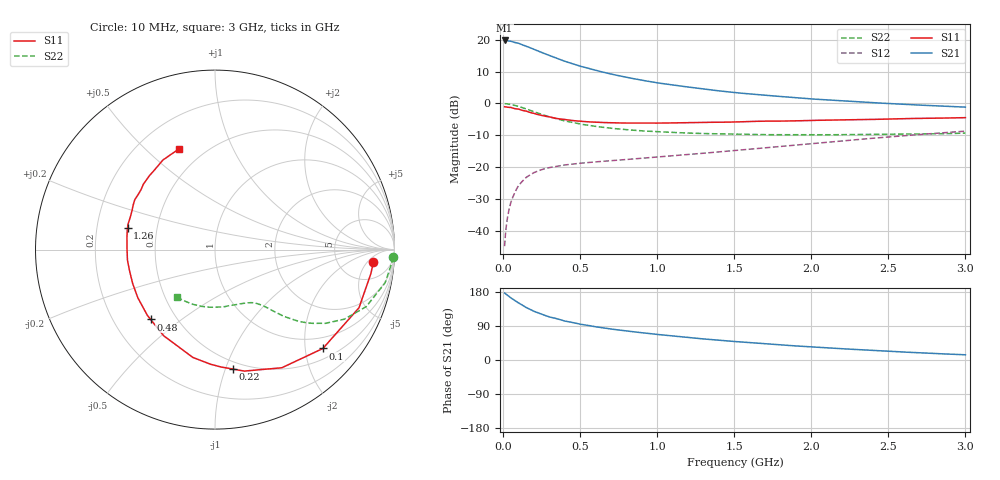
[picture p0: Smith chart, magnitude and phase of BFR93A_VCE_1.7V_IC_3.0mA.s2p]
! Infineon Technologies  Discrete & RF Semiconductors
! BFR93A
! VCE =  1.7 V,  IC =  3.0 mA
! Common Emitter S-Parameters:  Nov 2015
# GHz  S  MA  R  50
!  f  S11  S21  S12  S22
! GHz  MAG  ANG  MAG  ANG  MAG  ANG  MAG  ANG
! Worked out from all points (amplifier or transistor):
!   180 points, 10 MHz to 3 GHz, reference 50 ohm
!   highest |S21| = 19.8 dB at 10 MHz (marker M1)
!   |S21| within 3 dB of that: start of sweep to 211.9 MHz
!   unconditionally stable (mu >= 1): 865.2 MHz to end of sweep
!   at 160 MHz: K = 0.25, MSG = 20.4 dB, |S12| = -23.0 dB
!   at 1.22 GHz: K = 1.15, MAG = 8.2 dB, |S12| = -16.0 dB
!   at 3 GHz: K = 1.00, MAG = 3.5 dB, |S12| = -8.7 dB
!   S11 on the Smith chart (normalised r, x): 10 MHz: 12, -7; 100 MHz: 0.72, -2.38; 220 MHz: 0.44, -1.06; 480 MHz: 0.36, -0.39; 1.26 GHz: 0.34, +0.11; 3 GHz: 0.37, +0.64
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0.01  0.8855 -4.5  9.74 176.7  0.0057 87.1  0.9903 -2.4
0.015  0.8813 -6.7  9.721 175.1  0.0085 85.3  0.9886 -3.4
0.025  0.8731 -11.0  9.652 171.9  0.014 82.2  0.9828 -5.6
0.05  0.8653 -22.0  9.464 164.1  0.0275 77.8  0.9656 -11.1
0.1  0.8153 -42.5  8.8 150.6  0.051 67.6  0.9002 -20.7
0.15  0.7563 -60.5  7.935 138.4  0.0686 58.8  0.8179 -28.3
0.2  0.6965 -76.4  7.093 128.6  0.0815 52.9  0.7404 -33.7
0.22  0.6727 -81.6  6.764 125.5  0.0852 50.8  0.7122 -35.2
0.26  0.6392 -92.2  6.175 119.1  0.0923 47.3  0.6595 -38.3
0.3  0.6134 -101.6  5.66 113.7  0.0978 44.9  0.6145 -40.6
0.4  0.5587 -120.8  4.591 102.8  0.1076 41.1  0.5297 -44.3
0.48  0.5292 -132.7  3.985 96.4  0.1131 39.6  0.4844 -46.0
0.52  0.52 -138.2  3.73 93.3  0.1157 39.2  0.4652 -46.8
0.6  0.5069 -148.0  3.299 87.7  0.1203 38.9  0.4334 -48.2
0.7  0.4963 -157.4  2.886 81.6  0.126 39.3  0.4063 -49.8
0.9  0.4913 -173.3  2.309 71.9  0.1371 41.3  0.3696 -53.5
1.02  0.4903 179.0  2.07 66.7  0.1444 42.6  0.357 -55.9
1.26  0.5021 166.0  1.73 57.2  0.1615 45.2  0.3379 -62.2
1.52  0.5108 154.8  1.464 48.3  0.1832 47.6  0.3269 -70.2
2.02  0.541 137.1  1.166 34.1  0.2353 49.6  0.3206 -87.8
2.52  0.5695 122.5  0.989 22.8  0.2992 47.7  0.3263 -107.6
3  0.5964 109.5  0.873 13.7  0.3662 43.2  0.341 -128.9
